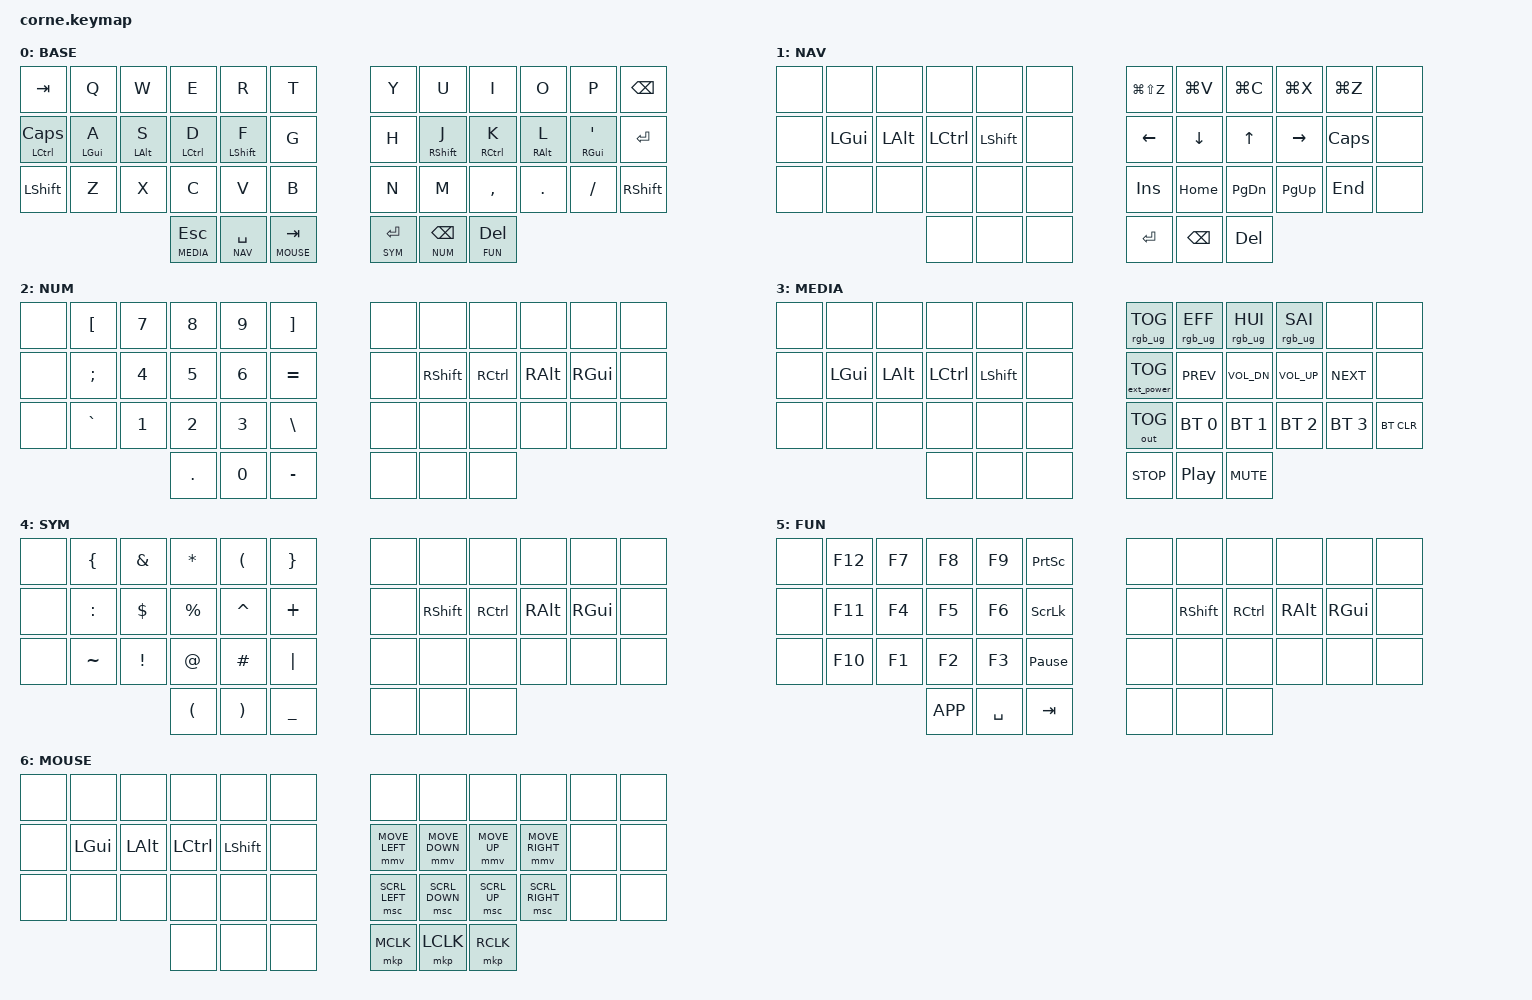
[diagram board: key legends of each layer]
/*
 * Copyright (c) 2020 The ZMK Contributors
 *
 * SPDX-License-Identifier: MIT
 */

//
//   MacBook ANSI mimic on Corne MX 42-key — QWERTY base, vim arrows (HJKL), GACS home row mods
//   Adapted from Miryoku/TOTEM for macOS (US ANSI). GUI = Command, ALT = Option, CTRL = Control.
//   MacBook rows mapped: Row0=Tab/Q row, Row1=Caps/A row, Row2=Shift/Z row, Thumbs=Fn/Ctrl/Opt/Cmd/Space
//   Layers preserved per user request — hold behaviors identical to Miryoku for ergonomics.
//
//   Layer 0: BASE    — QWERTY + home row mods (MacBook ANSI, Caps/Return/Shift positioned as on Mac)
//   Layer 1: NAV     — vim arrows, clipboard, nav (hold SPACE) — arrows as Mac Fn+arrows
//   Layer 2: NUM     — numpad left hand (hold BSPC) — numbers as Mac number row
//   Layer 3: MEDIA   — media, BT, RGB (hold ESC) — Fn layer as Mac Fn (brightness/volume)
//   Layer 4: SYM     — symbols left hand (hold ENTER)
//   Layer 5: FUN     — function keys left hand (hold DEL) — F1-F12 as Mac Fn+Fkeys
//   Layer 6: MOUSE   — mouse movement, scroll, buttons (hold TAB)

#include <behaviors.dtsi>
#include <dt-bindings/zmk/bt.h>
#include <dt-bindings/zmk/ext_power.h>
#include <dt-bindings/zmk/keys.h>
#include <dt-bindings/zmk/outputs.h>
#include <dt-bindings/zmk/pointing.h>
#include <dt-bindings/zmk/rgb.h>

#define BASE  0
#define NAV   1
#define NUM   2
#define MEDIA 3
#define SYM   4
#define FUN   5
#define MOUSE 6

// Corne key positions (42 keys):
// Row 0:  0  1  2  3  4  5    6  7  8  9  10  11
// Row 1: 12 13 14 15 16 17   18 19 20 21  22  23
// Row 2: 24 25 26 27 28 29   30 31 32 33  34  35
// Thumb:          36 37 38   39 40 41

&mt {
    flavor = "tap-preferred";
    tapping-term-ms = <200>;
    quick-tap-ms = <175>;
    require-prior-idle-ms = <150>;
};

&lt {
    flavor = "balanced";
    tapping-term-ms = <200>;
    quick-tap-ms = <175>;
};

/ {
    combos {
        compatible = "zmk,combos";

        // -- Tier 1: Essential --

        combo_caps_word {
            bindings = <&caps_word>;
            key-positions = <16 19>;        // F + J (index home row)
            timeout-ms = <30>;
            require-prior-idle-ms = <150>;
        };

        combo_esc {
            bindings = <&kp ESC>;
            key-positions = <2 3>;          // W + E
            timeout-ms = <30>;
            require-prior-idle-ms = <150>;
        };

        combo_bspc {
            bindings = <&kp BSPC>;
            key-positions = <8 9>;          // I + O
            timeout-ms = <30>;
            require-prior-idle-ms = <150>;
        };

        combo_del {
            bindings = <&kp DEL>;
            key-positions = <9 10>;         // O + P
            timeout-ms = <30>;
            require-prior-idle-ms = <150>;
        };

        // -- Tier 2: High Value --

        combo_tab {
            bindings = <&kp TAB>;
            key-positions = <14 15>;        // S + D
            timeout-ms = <30>;
            require-prior-idle-ms = <150>;
        };

        combo_enter {
            bindings = <&kp RET>;
            key-positions = <20 21>;        // K + L
            timeout-ms = <30>;
            require-prior-idle-ms = <150>;
        };

        combo_copy {
            bindings = <&kp LG(C)>;
            key-positions = <26 27>;        // X + C
            timeout-ms = <30>;
            require-prior-idle-ms = <150>;
        };

        combo_paste {
            bindings = <&kp LG(V)>;
            key-positions = <27 28>;        // C + V
            timeout-ms = <30>;
            require-prior-idle-ms = <150>;
        };

        combo_cut {
            bindings = <&kp LG(X)>;
            key-positions = <26 28>;        // X + V (skip middle)
            timeout-ms = <30>;
            require-prior-idle-ms = <150>;
        };

        // -- Tier 3: Vertical Symbol Combos --

        combo_minus {
            bindings = <&kp MINUS>;
            key-positions = <19 31>;        // J + M (right index vertical)
            timeout-ms = <40>;
            require-prior-idle-ms = <100>;
        };

        combo_underscore {
            bindings = <&kp UNDER>;
            key-positions = <18 30>;        // H + N (right inner vertical)
            timeout-ms = <40>;
            require-prior-idle-ms = <100>;
        };

        combo_equal {
            bindings = <&kp EQUAL>;
            key-positions = <16 28>;        // F + V (left index vertical)
            timeout-ms = <40>;
            require-prior-idle-ms = <100>;
        };

        combo_grave {
            bindings = <&kp GRAVE>;
            key-positions = <14 26>;        // S + X (left ring vertical)
            timeout-ms = <40>;
            require-prior-idle-ms = <100>;
        };

        combo_semi {
            bindings = <&kp SEMI>;
            key-positions = <21 22>;        // L + ' (right ring+pinky home)
            timeout-ms = <30>;
            require-prior-idle-ms = <150>;
        };
    };

    macros {
        hyper: hyper {
            compatible = "zmk,behavior-macro";
            #binding-cells = <0>;
            bindings =
                <&macro_press &kp LGUI &kp LALT &kp LCTRL &kp LSHFT>,
                <&macro_pause_for_release>,
                <&macro_release &kp LGUI &kp LALT &kp LCTRL &kp LSHFT>;
        };
    };

    keymap {
        compatible = "zmk,keymap";

        base_layer {
            display-name = "BASE";
            bindings = <
// Row0: Mac Tab row — TAB | Q W E R T | Y U I O P | Delete (BSPC)
// Row1: Mac Caps row — CAPS | A S D F G | H J K L ; ' | Return  (GACS home row mods preserved, GUI=Cmd, ALT=Opt)
// Row2: Mac Shift row — LSHIFT | Z X C V B | N M , . / | RSHIFT
// Thumbs: Mac bottom row — Fn(ESC/MEDIA) | Cmd/Space/NAV | Tab/MOUSE || Ret/SYM | BSPC/NUM (as Delete) | Del/FUN
&kp TAB            &kp Q       &kp W       &kp E         &kp R         &kp T          &kp Y       &kp U         &kp I         &kp O        &kp P        &kp BSPC
&mt LCTRL CAPS     &mt LGUI A  &mt LALT S  &mt LCTRL D   &mt LSHFT F   &kp G          &kp H       &mt RSHFT J   &mt RCTRL K   &mt RALT L   &mt RGUI SQT &kp RET
&kp LSHFT          &kp Z       &kp X       &kp C         &kp V         &kp B          &kp N       &kp M         &kp COMMA     &kp DOT      &kp FSLH     &kp RSHFT
                                            &lt MEDIA ESC &lt NAV SPACE &lt MOUSE TAB  &lt SYM RET &lt NUM BSPC  &lt FUN DEL
            >;
        };

        nav_layer {
            display-name = "NAV";
            bindings = <
&none          &none       &none       &none         &none         &none          &kp LG(LS(Z)) &kp LG(V)   &kp LG(C)     &kp LG(X)    &kp LG(Z)    &none
&none          &kp LGUI    &kp LALT    &kp LCTRL     &kp LSHFT     &none          &kp LEFT    &kp DOWN      &kp UP        &kp RIGHT    &kp CAPS     &none
&none          &none       &none       &none         &none         &none          &kp INS     &kp HOME      &kp PG_DN     &kp PG_UP    &kp END      &none
                                       &none         &none         &none          &kp RET     &kp BSPC      &kp DEL
            >;
        };

        num_layer {
            display-name = "NUM";
            bindings = <
&none          &kp LBKT    &kp N7      &kp N8        &kp N9        &kp RBKT       &none       &none         &none         &none        &none        &none
&none          &kp SEMI    &kp N4      &kp N5        &kp N6        &kp EQUAL      &none       &kp RSHFT     &kp RCTRL     &kp RALT     &kp RGUI     &none
&none          &kp GRAVE   &kp N1      &kp N2        &kp N3        &kp BSLH       &none       &none         &none         &none        &none        &none
                                       &kp DOT       &kp N0        &kp MINUS      &none       &none         &none
            >;
        };

        media_layer {
            display-name = "MEDIA";
            bindings = <
&none          &none       &none       &none         &none         &none          &rgb_ug RGB_TOG &rgb_ug RGB_EFF &rgb_ug RGB_HUI &rgb_ug RGB_SAI &none      &none
&none          &kp LGUI    &kp LALT    &kp LCTRL     &kp LSHFT     &none          &ext_power EP_TOG &kp C_PREV  &kp C_VOL_DN  &kp C_VOL_UP &kp C_NEXT   &none
&none          &none       &none       &none         &none         &none          &out OUT_TOG &bt BT_SEL 0  &bt BT_SEL 1  &bt BT_SEL 2 &bt BT_SEL 3 &bt BT_CLR
                                       &none         &none         &none          &kp C_STOP  &kp C_PP      &kp C_MUTE
            >;
        };

        sym_layer {
            display-name = "SYM";
            bindings = <
&none          &kp LBRC    &kp AMPS    &kp ASTRK     &kp LPAR      &kp RBRC       &none       &none         &none         &none        &none        &none
&none          &kp COLON   &kp DLLR    &kp PRCNT     &kp CARET     &kp PLUS       &none       &kp RSHFT     &kp RCTRL     &kp RALT     &kp RGUI     &none
&none          &kp TILDE   &kp EXCL    &kp AT        &kp HASH      &kp PIPE       &none       &none         &none         &none        &none        &none
                                       &kp LPAR      &kp RPAR      &kp UNDER      &none       &none         &none
            >;
        };

        fun_layer {
            display-name = "FUN";
            bindings = <
&none          &kp F12     &kp F7      &kp F8        &kp F9        &kp PSCRN      &none       &none         &none         &none        &none        &none
&none          &kp F11     &kp F4      &kp F5        &kp F6        &kp SLCK       &none       &kp RSHFT     &kp RCTRL     &kp RALT     &kp RGUI     &none
&none          &kp F10     &kp F1      &kp F2        &kp F3        &kp PAUSE_BREAK &none      &none         &none         &none        &none        &none
                                       &kp K_APP     &kp SPACE     &kp TAB        &none       &none         &none
            >;
        };

        mouse_layer {
            display-name = "MOUSE";
            bindings = <
&none          &none       &none       &none         &none         &none          &none            &none            &none          &none             &none        &none
&none          &kp LGUI    &kp LALT    &kp LCTRL     &kp LSHFT     &none          &mmv MOVE_LEFT   &mmv MOVE_DOWN   &mmv MOVE_UP   &mmv MOVE_RIGHT   &none        &none
&none          &none       &none       &none         &none         &none          &msc SCRL_LEFT   &msc SCRL_DOWN   &msc SCRL_UP   &msc SCRL_RIGHT   &none        &none
                                       &none         &none         &none          &mkp MCLK        &mkp LCLK        &mkp RCLK
            >;
        };
    };
};
